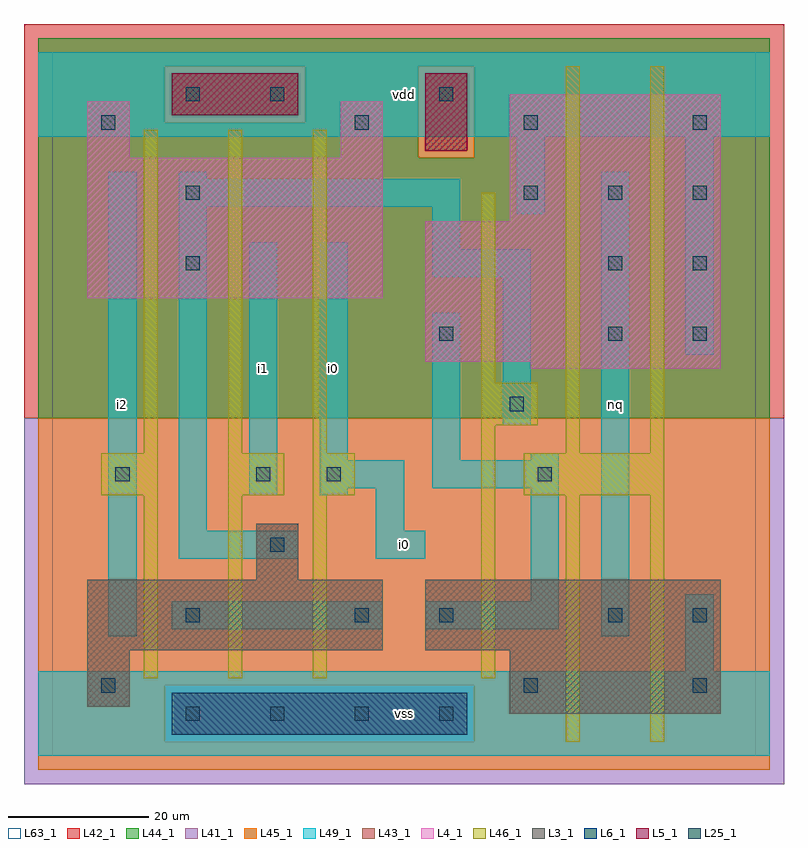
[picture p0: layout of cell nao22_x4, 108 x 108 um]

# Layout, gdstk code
import gdstk
lib = gdstk.Library(unit=1e-6, precision=1e-09)
def R(c, l, rs):  # rectangles x0, y0, x1, y1
    for r in rs: c.add(gdstk.rectangle(r[:2], r[2:], *l))
def A(c, l, x, y, w, h, nx, ny, dx, dy):  # array of equal rectangles
    R(c, l, [(x+i*dx, y+j*dy, x+i*dx+w, y+j*dy+h) for i in range(nx) for j in range(ny)])
L3_1 = (3, 1)
L4_1 = (4, 1)
L5_1 = (5, 1)
L6_1 = (6, 1)
L25_1 = (25, 1)
L41_1 = (41, 1)
L42_1 = (42, 1)
L43_1 = (43, 1)
L44_1 = (44, 1)
L45_1 = (45, 1)
L46_1 = (46, 1)
L49_1 = (49, 1)
L63_1 = (63, 1)

nao22_x4 = lib.new_cell('nao22_x4')
R(nao22_x4, L3_1, [(65,6,95,15), (5,7,11,15), (5,15,47,25), (53,15,95,25), (29,25,35,33)])
R(nao22_x4, L4_1, [(68,55,95,56), (53,56,95,76), (5,65,47,85), (65,76,95,94), (5,85,11,93), (41,85,47,93)])
R(nao22_x4, L5_1, [(53,86,59,97), (17,91,35,97)])
R(nao22_x4, L6_1, [(17,3,59,9), (17,3,59,9)])
A(nao22_x4, L25_1, 19, 5, 2, 2, 4, 1, 12, 0)
A(nao22_x4, L25_1, 67, 79, 2, 2, 3, 1, 12, 0)
A(nao22_x4, L25_1, 43, 89, 2, 2, 3, 1, 24, 0)
R(nao22_x4, L25_1, [(7,9,9,11), (67,9,69,11), (91,9,93,11), (19,19,21,21), (43,19,45,21), (55,19,57,21), (79,19,81,21), (91,19,93,21), (31,29,33,31), (9,39,11,41), (29,39,31,41), (39,39,41,41), (69,39,71,41), (65,49,67,51), (55,59,57,61), (79,59,81,61), (91,59,93,61), (19,69,21,71), (79,69,81,71), (91,69,93,71), (19,79,21,81), (7,89,9,91), (19,93,21,95), (31,93,33,95), (55,93,57,95)])
R(nao22_x4, L41_1, [(-4,-4,104,48)])
R(nao22_x4, L42_1, [(-4,48,104,104)])
R(nao22_x4, L43_1, [(17,3,59,9), (65,6,95,15), (5,7,11,15), (5,15,47,25), (53,15,95,25), (29,25,35,33), (68,55,95,56), (53,56,95,76), (5,65,47,85), (65,76,95,94), (5,85,11,93), (41,85,47,93), (53,86,59,97), (17,91,35,97)])
R(nao22_x4, L44_1, [(16,2,60,10), (-2,48,102,85), (-2,85,52,90), (60,85,102,98), (-2,90,16,98), (36,90,52,98), (-2,98,102,102)])
R(nao22_x4, L45_1, [(-2,-2,102,2), (-2,2,16,10), (60,2,102,10), (-2,10,102,48), (52,85,60,98), (16,90,36,98)])
A(nao22_x4, L46_1, 13, 11, 2, 26, 3, 1, 12, 0)
A(nao22_x4, L46_1, 13, 43, 2, 46, 3, 1, 12, 0)
R(nao22_x4, L46_1, [(73,2,75,37), (85,2,87,37), (61,11,63,47), (7,37,15,43), (25,37,33,43), (37,37,43,43), (67,37,87,43), (73,43,75,98), (85,43,87,98), (61,47,69,53), (61,53,63,80)])
R(nao22_x4, L49_1, [(-2,0,102,12), (90,12,94,23), (8,17,12,83), (78,17,82,83), (17,18,47,22), (53,18,72,22), (68,22,72,38), (18,28,35,32), (46,28,53,32), (18,32,22,78), (46,32,50,38), (28,37,32,73), (38,37,42,38), (38,38,50,42), (54,38,72,42), (38,42,42,73), (54,42,58,63), (68,42,72,43), (64,47,68,68), (90,57,94,88), (54,68,68,72), (54,72,58,78), (66,77,70,88), (18,78,58,82), (18,82,22,83), (-2,88,102,100)])
R(nao22_x4, L63_1, [(0,0,100,100)])
nao22_x4.add(gdstk.Label('i2', (10,50), layer=49, texttype=1))
nao22_x4.add(gdstk.Label('i1', (30,55), layer=49, texttype=1))
nao22_x4.add(gdstk.Label('vss', (50,6), layer=49, texttype=1))
nao22_x4.add(gdstk.Label('i0', (50,30), layer=49, texttype=1))
nao22_x4.add(gdstk.Label('i0', (40,55), layer=49, texttype=1))
nao22_x4.add(gdstk.Label('vdd', (50,94), layer=49, texttype=1))
nao22_x4.add(gdstk.Label('nq', (80,50), layer=49, texttype=1))

lib.write_gds('nao22_x4.gds')
